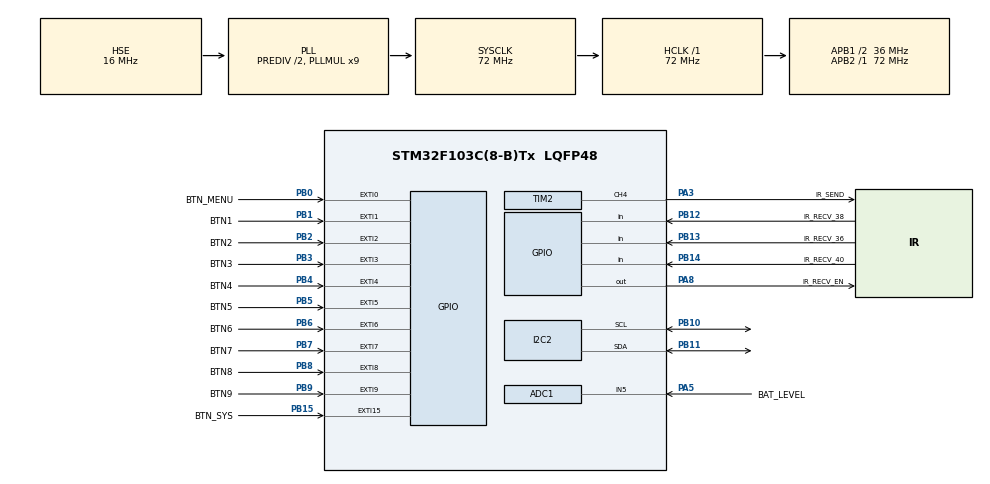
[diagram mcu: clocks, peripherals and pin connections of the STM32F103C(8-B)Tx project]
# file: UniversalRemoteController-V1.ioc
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ADC1.Channel-0\#ChannelRegularConversion=ADC_CHANNEL_5
ADC1.NbrOfConversionFlag=1
ADC1.Rank-0\#ChannelRegularConversion=1
ADC1.SamplingTime-0\#ChannelRegularConversion=ADC_SAMPLETIME_239CYCLES_5
ADC1.master=1
Mcu.Family=STM32F1
Mcu.Name=STM32F103C(8-B)Tx
Mcu.Package=LQFP48
NVIC.ADC1_2_IRQn=true\:0\:0\:false\:false\:true\:true\:true\:true
NVIC.EXTI0_IRQn=true\:0\:0\:false\:false\:true\:true\:true\:true
NVIC.EXTI15_10_IRQn=true\:0\:0\:false\:false\:true\:true\:true\:true
NVIC.EXTI1_IRQn=true\:0\:0\:false\:false\:true\:true\:true\:true
NVIC.EXTI2_IRQn=true\:0\:0\:false\:false\:true\:true\:true\:true
NVIC.EXTI3_IRQn=true\:0\:0\:false\:false\:true\:true\:true\:true
NVIC.EXTI4_IRQn=true\:0\:0\:false\:false\:true\:true\:true\:true
NVIC.EXTI9_5_IRQn=true\:0\:0\:false\:false\:true\:true\:true\:true
NVIC.PriorityGroup=NVIC_PRIORITYGROUP_4
NVIC.TIM2_IRQn=true\:0\:0\:false\:false\:true\:true\:true\:true
NVIC.TIM3_IRQn=true\:0\:0\:false\:false\:true\:true\:true\:true
PA13.Mode=Serial_Wire
PA13.Signal=SYS_JTMS-SWDIO
PA14.Mode=Serial_Wire
PA14.Signal=SYS_JTCK-SWCLK
PA3.GPIO_Label=IR_SEND
PA3.GPIO_Speed=GPIO_SPEED_FREQ_HIGH
PA3.Signal=S_TIM2_CH4
PA5.GPIO_Label=BAT_LEVEL
PA5.Signal=ADCx_IN5
PA8.GPIO_Label=IR_RECV_EN
PA8.Signal=GPIO_Output
PB0.GPIO_Label=BTN_MENU
PB0.GPIO_ModeDefaultEXTI=GPIO_MODE_IT_RISING_FALLING
PB0.Signal=GPXTI0
PB1.GPIO_Label=BTN1
PB1.GPIO_ModeDefaultEXTI=GPIO_MODE_IT_RISING_FALLING
PB1.Signal=GPXTI1
PB10.Mode=I2C
PB10.Signal=I2C2_SCL
PB11.Mode=I2C
PB11.Signal=I2C2_SDA
PB12.GPIO_Label=IR_RECV_38
PB12.Signal=GPIO_Input
PB13.GPIO_Label=IR_RECV_36
PB13.Signal=GPIO_Input
PB14.GPIO_Label=IR_RECV_40
PB14.Signal=GPIO_Input
PB15.GPIO_Label=BTN_SYS
PB15.GPIO_ModeDefaultEXTI=GPIO_MODE_IT_RISING_FALLING
PB15.Signal=GPXTI15
PB2.GPIO_Label=BTN2
PB2.GPIO_ModeDefaultEXTI=GPIO_MODE_IT_RISING_FALLING
PB2.Signal=GPXTI2
PB3.GPIO_Label=BTN3
PB3.GPIO_ModeDefaultEXTI=GPIO_MODE_IT_RISING_FALLING
PB3.Signal=GPXTI3
PB4.GPIO_Label=BTN4
PB4.GPIO_ModeDefaultEXTI=GPIO_MODE_IT_RISING_FALLING
PB4.Signal=GPXTI4
PB5.GPIO_Label=BTN5
PB5.GPIO_ModeDefaultEXTI=GPIO_MODE_IT_RISING_FALLING
PB5.Signal=GPXTI5
PB6.GPIO_Label=BTN6
PB6.GPIO_ModeDefaultEXTI=GPIO_MODE_IT_RISING_FALLING
PB6.Signal=GPXTI6
PB7.GPIO_Label=BTN7
PB7.GPIO_ModeDefaultEXTI=GPIO_MODE_IT_RISING_FALLING
PB7.Signal=GPXTI7
PB8.GPIO_Label=BTN8
PB8.GPIO_ModeDefaultEXTI=GPIO_MODE_IT_RISING_FALLING
PB8.Signal=GPXTI8
PB9.GPIO_Label=BTN9
PB9.GPIO_ModeDefaultEXTI=GPIO_MODE_IT_RISING_FALLING
PB9.Signal=GPXTI9
PD0-OSC_IN.Mode=HSE-External-Oscillator
PD0-OSC_IN.Signal=RCC_OSC_IN
PD1-OSC_OUT.Mode=HSE-External-Oscillator
PD1-OSC_OUT.Signal=RCC_OSC_OUT
ProjectManager.HeapSize=0x200
ProjectManager.StackSize=0x400
ProjectManager.TargetToolchain=STM32CubeIDE
RCC.ADCPresc=RCC_ADCPCLK2_DIV6
RCC.AHBFreq_Value=72000000
RCC.APB1CLKDivider=RCC_HCLK_DIV2
RCC.APB1Freq_Value=36000000
RCC.APB1TimFreq_Value=72000000
RCC.APB2Freq_Value=72000000
RCC.APB2TimFreq_Value=72000000
RCC.HCLKFreq_Value=72000000
RCC.HSEDivPLL=RCC_HSE_PREDIV_DIV2
RCC.HSE_VALUE=16000000
RCC.PLLMUL=RCC_PLL_MUL9
RCC.PLLSourceVirtual=RCC_PLLSOURCE_HSE
RCC.SYSCLKFreq_VALUE=72000000
RCC.SYSCLKSource=RCC_SYSCLKSOURCE_PLLCLK
RCC.USBFreq_Value=72000000
SH.ADCx_IN5.0=ADC1_IN5,IN5
SH.S_TIM2_CH4.0=TIM2_CH4,PWM Generation4 CH4
TIM2.Channel-PWM\ Generation4\ CH4=TIM_CHANNEL_4
TIM2.OCFastMode_PWM-PWM\ Generation4\ CH4=TIM_OCFAST_DISABLE
TIM2.Period=9
TIM2.Prescaler=199
TIM2.Pulse-PWM\ Generation4\ CH4=13
TIM3.Period=99
TIM3.Prescaler=47
VP_TIM2_VS_ClockSourceINT.Mode=Internal
VP_TIM3_VS_ClockSourceINT.Mode=Internal
board=custom

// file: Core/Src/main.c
/* USER CODE BEGIN Header */
/**
  ******************************************************************************
  * @file           : main.c
  * @brief          : Main program body
  ******************************************************************************
  * @attention
  *
  * Copyright (c) 2025 STMicroelectronics.
  * All rights reserved.
  *
  * This software is licensed under terms that can be found in the LICENSE file
  * in the root directory of this software component.
  * If no LICENSE file comes with this software, it is provided AS-IS.
  *
  ******************************************************************************
  */
/* USER CODE END Header */
#include "main.h"
#include "adc.h"
#include "i2c.h"
#include "tim.h"
#include "gpio.h"

/* USER CODE BEGIN Includes */

#include "irmp.h"
#include "irsnd.h"
#include "display.h"
#include "button.h"

/* USER CODE END Includes */

/* USER CODE BEGIN PTD */
typedef enum {
	DEVICE_MODE_OFF = 0,
    DEVICE_MODE_DEFAULT,
	DEVICE_MODE_MENU,
	DEVICE_MODE_RECEIVER,
	DEVICE_MODE_SAVES
} DeviceMode;

typedef struct {
	IRMP_DATA irmp_data;
	uint8_t btn_id;
} GPBtnBinding_t;

#define MAX_BANKS 10
#define MAX_GPBUTTONS 9

typedef struct {
    GPBtnBinding_t btn_bindings[MAX_BANKS][MAX_GPBUTTONS];
    uint32_t checksum;
} DeviceSettings_t;

/* USER CODE END PTD */

/* USER CODE BEGIN PD */

#define FLASH_PAGE_ADDR ((uint32_t)0x0801FC00)  // Last 1KB of 128KB Flash

/* USER CODE END PD */

/* USER CODE BEGIN PV */
DeviceMode g_DeviceMode = DEVICE_MODE_OFF;

uint8_t g_currentReceiver = 1;
uint8_t g_receiversEnabled = 0;
uint16_t g_currentReceiverPin = IR_RECV_38_Pin;

uint8_t g_currentBank = 0;
uint8_t g_currentGPButton = 0;  // From 1 to 9
uint8_t g_isGPButtonPressed = 0;
IRMP_DATA g_currentIrmpData;

uint8_t g_menuPageOption = 0;

DeviceSettings_t g_DeviceSettings;

struct {
	uint16_t adc_value;
	uint16_t update_time;
} g_batLevel;

struct {
	uint16_t time;
	uint8_t show;
} g_displayHint;

const char *PROTOCOL_NAMES[IRMP_N_PROTOCOLS+1] = {
		"uknown", "SIRCS", "NEC", "SAMSUNG", "MATSUSHITA", "KASEIKYO",
		"RECS80", "RC5", "DENON", "RC6", "SAMSUNG32", "APPLE",
		"RECS80EXT", "NUBERT", "BANG_OLUFSEN", "GRUNDIG", "NOKIA", "SIEMENS",
		"FDC", "RCCAR", "JVC", "RC6A", "NIKON", "RUWIDO",
		"IR60", "KATHREIN", "NETBOX", "NEC16", "NEC42", "LEGO",
		"THOMSON", "BOSE", "A1TVBOX", "ORTEK", "TELEFUNKEN", "ROOMBA",
		"RCMM32", "RCMM24", "RCMM12", "SPEAKER", "LGAIR", "SAMSUNG48",
		"MERLIN", "PENTAX", "FAN", "S100", "ACP24", "TECHNICS",
		"PANASONIC", "MITSU_HEAVY", "VINCENT", "SAMSUNGAH", "IRMP16", "GREE",
		"RCII", "METZ", "ONKYO", "RF_GEN24", "RF_X10", "RF_MEDION",
		"IRMP_MELINERA"
};

/* USER CODE END PV */

void SystemClock_Config(void);
/* USER CODE BEGIN PFP */
/*--------------------------------------------------------*/
/*-------------------- Device Settings -------------------*/
/*--------------------------------------------------------*/
uint32_t CalcSimpleChecksum(uint8_t* data, size_t len);
uint8_t LoadSettingsFromFlash();
void SaveSettingsToFlash();
/*--------------------------------------------------------*/
/*----------------- Device State Controls ----------------*/
/*--------------------------------------------------------*/
void Device_ChangeMode(DeviceMode new_mode);
void Device_NextBank();
void Device_PrevBank();
void Device_ChangeMenuPageOption();
void Device_EnterMenuPageOption(uint8_t option);
void Device_SelectGPButton(uint8_t btn_id);
void Device_SetGPButton();
void Device_SwitchIRSensor();
void Device_RetrieveBindingFromGPBtn(uint8_t bank_id, uint8_t btn_id);
/*--------------------------------------------------------*/
/*------------------- Button Callbacks -------------------*/
/*--------------------------------------------------------*/
void HAL_GPIO_EXTI_Callback(uint16_t GPIO_Pin);
void onBtnMenu(ButtonEvent event, uint8_t id);
void onBtnSys(ButtonEvent event, uint8_t id);
void onBtnGeneralPurpose(ButtonEvent event, uint8_t id);
void onSysTickUpdate();
/*--------------------------------------------------------*/
/*-------------- IRMP Data Received Callback -------------*/
/*--------------------------------------------------------*/
void onIrmpDataReceived(IRMP_DATA* irmp_data);

/* USER CODE END PFP */

/* USER CODE BEGIN 0 */
/*--------------------------------------------------------*/
/*-------------------- Device Settings -------------------*/
/*--------------------------------------------------------*/
uint32_t CalcSimpleChecksum(uint8_t* data, size_t len)
{
    uint32_t sum = 0;
    for (size_t i = 0; i < len; ++i)
    {
        sum += data[i];
    }
    return sum;
}

uint8_t LoadSettingsFromFlash()
{
    // Read directly from flash
    DeviceSettings_t *stored = (DeviceSettings_t*)FLASH_PAGE_ADDR;
    // Calculate checksum of stored bindings
    uint32_t calc = CalcSimpleChecksum((uint8_t*)stored->btn_bindings, sizeof(stored->btn_bindings));
    if (calc == stored->checksum)
    {
        memcpy(&g_DeviceSettings, stored, sizeof(DeviceSettings_t));
        return 1;  // valid checksum
    }
    return 0;  // invalid checksum
}

void SaveSettingsToFlash()
{
	HAL_FLASH_Unlock();
	// Erase the flash page
	FLASH_EraseInitTypeDef eraseInit;
	uint32_t pageError;

	eraseInit.TypeErase = FLASH_TYPEERASE_PAGES;
	eraseInit.PageAddress = FLASH_PAGE_ADDR;
	eraseInit.NbPages = 1;

	if (HAL_FLASHEx_Erase(&eraseInit, &pageError) != HAL_OK)
	{
	   // Handle erase error
	   HAL_FLASH_Lock();
	   return;
	}

	g_DeviceSettings.checksum = CalcSimpleChecksum((uint8_t*)g_DeviceSettings.btn_bindings, sizeof(g_DeviceSettings.btn_bindings));

    uint32_t* data = (uint32_t*)&g_DeviceSettings;
    uint32_t word_count = sizeof(DeviceSettings_t) / 4;

    for (uint32_t i = 0; i < word_count; ++i)
    {
        HAL_FLASH_Program(FLASH_TYPEPROGRAM_WORD, FLASH_PAGE_ADDR + i * 4, data[i]);
    }
	HAL_FLASH_Lock();

	Display_TurnOn(0);
	Display_TurnOn(1);
}

/*--------------------------------------------------------*/
/*----------------- Device State Controls ----------------*/
/*--------------------------------------------------------*/
void Device_ChangeMode(DeviceMode new_mode)
{
	if (g_DeviceMode == new_mode)
		return;
	DeviceMode prev_mode = g_DeviceMode;
	g_DeviceMode = new_mode;
	if (prev_mode == DEVICE_MODE_RECEIVER)
	{
		g_currentReceiver = 1;
		g_receiversEnabled = 0;
		HAL_GPIO_WritePin(IR_RECV_EN_GPIO_Port, IR_RECV_EN_Pin, GPIO_PIN_RESET);  // Enable IR receivers
	}
	else if (prev_mode == DEVICE_MODE_DEFAULT)
	{
		Display_TurnOn(1);
	}
	switch (g_DeviceMode)
	{
		case DEVICE_MODE_DEFAULT:
			g_displayHint.show = 1;
			Display_TurnOn(1);
			Display_Paint_DefaultPage();
			Display_DefaultPage_Set_Bank(g_currentBank);
			Display_Update();
			break;
		case DEVICE_MODE_MENU:
			Display_Paint_MenuPage();
			Display_MenuPage_Set_Option(g_menuPageOption);
			Display_Update();
			HAL_ADC_Start_IT(&hadc1);
			break;
		case DEVICE_MODE_RECEIVER:
			g_currentReceiver = 1;
			g_receiversEnabled = 1;
			g_currentGPButton = 0;
			Display_Paint_ReceiverPage();
			Display_ReceiverPage_Set_BankOption(g_currentBank);
			Display_ReceiverPage_Set_RecvOption(g_currentReceiver);
			Display_Update();
			HAL_GPIO_WritePin(IR_RECV_EN_GPIO_Port, IR_RECV_EN_Pin, GPIO_PIN_SET);  // Enable IR receivers
			break;
		case DEVICE_MODE_SAVES:
			g_currentGPButton = 1;
			Display_Paint_SavesPage();
			Display_ReceiverPage_Set_BtnOption(g_currentGPButton);
			Display_ReceiverPage_Set_BankOption(g_currentBank);
			Device_RetrieveBindingFromGPBtn(g_currentBank, g_currentGPButton);
			Display_Update();
			break;
		default:
			break;
	}
}

void Device_NextBank()
{
	g_currentBank = g_currentBank < (MAX_BANKS-1) ? g_currentBank + 1 : g_currentBank;
	if (g_DeviceMode == DEVICE_MODE_DEFAULT)
	{
		g_displayHint.show = 1;
		Display_TurnOn(1);
		Display_DefaultPage_Set_Bank(g_currentBank);
		Display_Update();
	}
	else if (g_DeviceMode == DEVICE_MODE_RECEIVER)
	{
		Display_ReceiverPage_Set_BankOption(g_currentBank);
		Display_Update();
	}
	else if (g_DeviceMode == DEVICE_MODE_SAVES)
	{
		Device_RetrieveBindingFromGPBtn(g_currentBank, g_currentGPButton);
		Display_ReceiverPage_Set_BankOption(g_currentBank);
		Display_Update();
	}
}

void Device_PrevBank()
{
	g_currentBank = g_currentBank > 0 ? g_currentBank - 1 : g_currentBank;
	if (g_DeviceMode == DEVICE_MODE_DEFAULT)
	{
		g_displayHint.show = 1;
		Display_TurnOn(1);
		Display_DefaultPage_Set_Bank(g_currentBank);
		Display_Update();
	}
	else if (g_DeviceMode == DEVICE_MODE_RECEIVER)
	{
		Display_ReceiverPage_Set_BankOption(g_currentBank);
		Display_Update();
	}
	else if (g_DeviceMode == DEVICE_MODE_SAVES)
	{
		Device_RetrieveBindingFromGPBtn(g_currentBank, g_currentGPButton);
		Display_ReceiverPage_Set_BankOption(g_currentBank);
		Display_Update();
	}
}

void Device_ChangeMenuPageOption()
{
	g_menuPageOption = !g_menuPageOption;
	Display_MenuPage_Set_Option(g_menuPageOption);
	Display_Update();
}

void Device_EnterMenuPageOption(uint8_t option)
{
	switch (option) {
		case 0:
			Device_ChangeMode(DEVICE_MODE_RECEIVER);
			break;
		case 1:
			Device_ChangeMode(DEVICE_MODE_SAVES);
			break;
		default:
			break;
	}
}

void Device_SelectGPButton(uint8_t btn_id)
{
	g_currentGPButton = btn_id;
	if (g_DeviceMode == DEVICE_MODE_SAVES)
	{
		Device_RetrieveBindingFromGPBtn(g_currentBank, g_currentGPButton);
	}
	Display_ReceiverPage_Set_BtnOption(g_currentGPButton);
	Display_ReceiverPage_Set_BtnSet(0);
	Display_Update();
}

void Device_SetGPButton()
{
	// General buttons have ids in range from 1 to 9
	if (g_currentGPButton > 0 && g_currentIrmpData.protocol != 0)
	{
		g_DeviceSettings.btn_bindings[g_currentBank][g_currentGPButton-1].irmp_data = g_currentIrmpData;
		g_DeviceSettings.btn_bindings[g_currentBank][g_currentGPButton-1].btn_id = g_currentGPButton;
		Display_ReceiverPage_Set_BtnSet(1);
		Display_Update();
	}
	else
	{
		Display_ReceiverPage_Set_BtnSet(0);
		Display_Update();
	}
}

void Device_SwitchIRSensor()
{
	g_receiversEnabled = !g_receiversEnabled;
	if (g_receiversEnabled)
	{
		HAL_GPIO_WritePin(IR_RECV_EN_GPIO_Port, IR_RECV_EN_Pin, GPIO_PIN_SET);  // Enable IR receivers
		if (g_currentReceiver < 3)
			++g_currentReceiver;
		else
			g_currentReceiver = 1;
		Display_ReceiverPage_Set_RecvOption(g_currentReceiver);
		switch (g_currentReceiver) {
			case 1:
				g_currentReceiverPin = IR_RECV_38_Pin;
				break;
			case 2:
				g_currentReceiverPin = IR_RECV_36_Pin;
				break;
			case 3:
				g_currentReceiverPin = IR_RECV_40_Pin;
				break;
			default:
				break;
		}
	}
	else
	{
		HAL_GPIO_WritePin(IR_RECV_EN_GPIO_Port, IR_RECV_EN_Pin, GPIO_PIN_RESET);  // Disable IR receivers
		Display_ReceiverPage_Set_RecvOption(0);
	}
	Display_Update();
}

void Device_RetrieveBindingFromGPBtn(uint8_t bank_id, uint8_t btn_id)
{
	IRMP_DATA* irmp_data = &g_DeviceSettings.btn_bindings[bank_id][btn_id-1].irmp_data;
	Display_ReceiverPage_Set_IrmpData(irmp_data);
	Display_SavesPage_Set_ProtocolName(PROTOCOL_NAMES[irmp_data->protocol]);
}

/*--------------------------------------------------------*/
/*------------------- Button Callbacks -------------------*/
/*--------------------------------------------------------*/
void HAL_GPIO_EXTI_Callback(uint16_t GPIO_Pin)
{
	Button_EXTI_Handler(GPIO_Pin);
}

void onBtnMenu(ButtonEvent event, uint8_t id)
{
	switch (event)
	{
		case BUTTON_EVENT_RELEASE:
			if (g_DeviceMode == DEVICE_MODE_DEFAULT)
			{
				Device_NextBank();
			}
			else if (g_DeviceMode == DEVICE_MODE_MENU)
			{
				Device_EnterMenuPageOption(g_menuPageOption);
			}
			else if (g_DeviceMode == DEVICE_MODE_SAVES)
			{
				Device_NextBank();
			}
			else if (g_DeviceMode == DEVICE_MODE_RECEIVER)
			{
				if (g_currentGPButton > 0 && g_currentGPButton <= 9 && g_isGPButtonPressed)
				{
					Device_NextBank();
				}
			}
			break;
		case BUTTON_EVENT_PRESS:
			if (g_DeviceMode == DEVICE_MODE_RECEIVER)
			{
				if (!g_isGPButtonPressed)
				{
					Device_SetGPButton();
				}
			}
			break;
		case BUTTON_EVENT_HOLD:
			if (g_DeviceMode == DEVICE_MODE_DEFAULT)
			{
				Device_ChangeMode(DEVICE_MODE_MENU);
			}
			else if (g_DeviceMode == DEVICE_MODE_RECEIVER)
			{
				SaveSettingsToFlash();
			}
			break;
		default:
			break;
	}
}

void onBtnSys(ButtonEvent event, uint8_t id)
{
	switch (event)
	{
		case BUTTON_EVENT_RELEASE:
			if (g_DeviceMode == DEVICE_MODE_DEFAULT)
			{
				Device_PrevBank();
			}
			else if (g_DeviceMode == DEVICE_MODE_MENU)
			{
				Device_ChangeMenuPageOption();
			}
			else if (g_DeviceMode == DEVICE_MODE_RECEIVER)
			{
				if (!g_isGPButtonPressed)
				{
					Device_SwitchIRSensor();
				}
				if (g_currentGPButton > 0 && g_currentGPButton <= 9 && g_isGPButtonPressed)
				{
					Device_PrevBank();
				}
			}
			else if (g_DeviceMode == DEVICE_MODE_SAVES)
			{
				Device_PrevBank();
			}
			break;
		case BUTTON_EVENT_PRESS:
			break;
		case BUTTON_EVENT_HOLD:
			if (g_DeviceMode == DEVICE_MODE_MENU)
			{
				Device_ChangeMode(DEVICE_MODE_DEFAULT);
			}
			if (g_DeviceMode == DEVICE_MODE_RECEIVER || g_DeviceMode == DEVICE_MODE_SAVES)
			{
				Device_ChangeMode(DEVICE_MODE_MENU);
			}
			break;
		default:
			break;
	}
}

void onBtnGeneralPurpose(ButtonEvent event, uint8_t id)
{
	switch (event)
	{
		case BUTTON_EVENT_PRESS:
			g_isGPButtonPressed = 1;
			if (g_DeviceMode == DEVICE_MODE_DEFAULT)
			{
				IRMP_DATA* irmp_data = &g_DeviceSettings.btn_bindings[g_currentBank][id-1].irmp_data;
				if (irmp_data->protocol == IRMP_JVC_PROTOCOL)
				{
					irmp_data->flags = 1;
				}
				irsnd_send_data(irmp_data, FALSE);
			}
			if (g_DeviceMode == DEVICE_MODE_RECEIVER || g_DeviceMode == DEVICE_MODE_SAVES)
			{
				Device_SelectGPButton(id);
			}
			break;
		case BUTTON_EVENT_RELEASE:
		case BUTTON_EVENT_LONG_RELEASE:
			g_isGPButtonPressed = 0;
			break;
		default:
			break;
	}
}

void onSysTickUpdate()
{
	Button_TimerTick();
	if (g_DeviceMode == DEVICE_MODE_DEFAULT)
	{
		if (g_displayHint.show)
		{
			if (g_displayHint.time < 1000)
				++g_displayHint.time;
			else
			{
				Display_TurnOn(0);
				g_displayHint.time = 0;
				g_displayHint.show = 0;
			}
		}
	}
	else if (g_DeviceMode == DEVICE_MODE_MENU)
	{
		if (g_batLevel.update_time < 2000)
			++g_batLevel.update_time;
		else
		{
			g_batLevel.update_time = 0;
			HAL_ADC_Start_IT(&hadc1);
		}
	}
}

/*--------------------------------------------------------*/
/*-------------- IRMP Data Received Callback -------------*/
/*--------------------------------------------------------*/
void onIrmpDataReceived(IRMP_DATA* irmp_data)
{
	g_currentIrmpData = *irmp_data;
	Display_ReceiverPage_Set_IrmpData(irmp_data);
	Display_ReceiverPage_Set_BtnSet(0);
	Display_ReceiverPage_Set_ProtocolName(PROTOCOL_NAMES[irmp_data->protocol]);
	Display_Update();
}

/* USER CODE END 0 */

int main(void)
{

  /* MCU Configuration--------------------------------------------------------*/

  /* Reset of all peripherals, Initializes the Flash interface and the Systick. */
  HAL_Init();

  /* Configure the system clock */
  SystemClock_Config();

  /* Initialize all configured peripherals */
  MX_GPIO_Init();
  MX_TIM2_Init();
  MX_I2C2_Init();
  MX_TIM3_Init();
  MX_ADC1_Init();
  /* USER CODE BEGIN 2 */
  if (!LoadSettingsFromFlash())
  {
      // Data corrupted or uninitialized — set defaults
      memset(&g_DeviceSettings, 0, sizeof(DeviceSettings_t));
      for (uint8_t bank = 0; bank < MAX_BANKS; ++bank)
      {
          for (uint8_t btn = 0; btn < MAX_GPBUTTONS; ++btn)
          {
        	  g_DeviceSettings.btn_bindings[bank][btn].btn_id = btn + 1;
          }
      }
      SaveSettingsToFlash();
  }
  HAL_TIM_Base_Start_IT(&htim2);
  HAL_TIM_Base_Start_IT(&htim3);

  irmp_init();
  Display_Init();
  Button_Init();
  irsnd_init();

  HAL_ADCEx_Calibration_Start(&hadc1);

  Device_ChangeMode(DEVICE_MODE_DEFAULT);

  /* USER CODE END 2 */

  /* Infinite loop */
  while (1)
  {
  }
}

void SystemClock_Config(void)
{
  RCC_OscInitTypeDef RCC_OscInitStruct = {0};
  RCC_ClkInitTypeDef RCC_ClkInitStruct = {0};
  RCC_PeriphCLKInitTypeDef PeriphClkInit = {0};

  /** Initializes the RCC Oscillators according to the specified parameters
  * in the RCC_OscInitTypeDef structure.
  */
  RCC_OscInitStruct.OscillatorType = RCC_OSCILLATORTYPE_HSE;
  RCC_OscInitStruct.HSEState = RCC_HSE_ON;
  RCC_OscInitStruct.HSEPredivValue = RCC_HSE_PREDIV_DIV2;
  RCC_OscInitStruct.HSIState = RCC_HSI_ON;
  RCC_OscInitStruct.PLL.PLLState = RCC_PLL_ON;
  RCC_OscInitStruct.PLL.PLLSource = RCC_PLLSOURCE_HSE;
  RCC_OscInitStruct.PLL.PLLMUL = RCC_PLL_MUL9;
  if (HAL_RCC_OscConfig(&RCC_OscInitStruct) != HAL_OK)
  {
    Error_Handler();
  }

  /** Initializes the CPU, AHB and APB buses clocks
  */
  RCC_ClkInitStruct.ClockType = RCC_CLOCKTYPE_HCLK|RCC_CLOCKTYPE_SYSCLK
                              |RCC_CLOCKTYPE_PCLK1|RCC_CLOCKTYPE_PCLK2;
  RCC_ClkInitStruct.SYSCLKSource = RCC_SYSCLKSOURCE_PLLCLK;
  RCC_ClkInitStruct.AHBCLKDivider = RCC_SYSCLK_DIV1;
  RCC_ClkInitStruct.APB1CLKDivider = RCC_HCLK_DIV2;
  RCC_ClkInitStruct.APB2CLKDivider = RCC_HCLK_DIV1;

  if (HAL_RCC_ClockConfig(&RCC_ClkInitStruct, FLASH_LATENCY_2) != HAL_OK)
  {
    Error_Handler();
  }
  PeriphClkInit.PeriphClockSelection = RCC_PERIPHCLK_ADC;
  PeriphClkInit.AdcClockSelection = RCC_ADCPCLK2_DIV6;
  if (HAL_RCCEx_PeriphCLKConfig(&PeriphClkInit) != HAL_OK)
  {
    Error_Handler();
  }
}

/* USER CODE BEGIN 4 */
void HAL_TIM_PeriodElapsedCallback(TIM_HandleTypeDef *htim)
{
    if (htim->Instance == TIM3)
    {
    	  irsnd_ISR();
    	  irmp_ISR();
    	  static IRMP_DATA irmp_data;
    	  if (irmp_get_data(&irmp_data))
    	  {
    		  onIrmpDataReceived(&irmp_data);
    	  }
    }
}

void HAL_ADC_ConvCpltCallback(ADC_HandleTypeDef* hadc)
{
	if (g_DeviceMode == DEVICE_MODE_MENU)
	{
		g_batLevel.adc_value = HAL_ADC_GetValue(&hadc1);
		float voltage =  ((3.3 * g_batLevel.adc_value) / 4096) * 2;
		float perc = (voltage - 2.9) / (4.2 - 2.9);
		perc = perc < 0.0 ? 0.0 : perc;
		perc = perc > 1.0 ? 1.0 : perc;
		Display_Set_BatteryLevel(perc);
		Display_Update();
	}
}

/* USER CODE END 4 */

void Error_Handler(void)
{
  __disable_irq();
  while (1)
  {
  }
}
